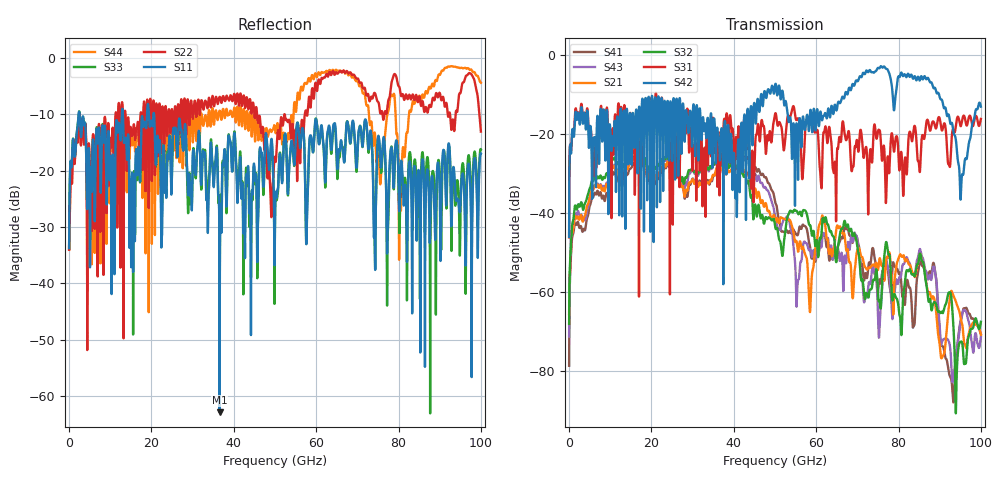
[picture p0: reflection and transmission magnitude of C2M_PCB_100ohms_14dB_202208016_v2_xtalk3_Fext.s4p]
! Info: Touchstone file created by Circ.  Input file=Intel_C2M_200G_3p5in_202208016_staggered.circ
# Hz S RI R 50
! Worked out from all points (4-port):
!   10000 points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, 10 MHz to 100 GHz, reference 50 ohm
!   strongest paths, dB at 10 MHz, 25.01 GHz, 50.01 GHz, 75.01 GHz, 100 GHz:
!     S42: -46.1, -26.9, -7.8, -3.3, -13.1
!     S31: -46.2, -21.6, -15.1, -19.4, -16.2
!     S32: -68.2, -26.6, -43.3, -60.2, -67.6
!     S21: -65.7, -28.2, -41.9, -54.5, -70.9
!     S43: -71.4, -27.0, -40.9, -65.9, -71.5
!     S41: -78.8, -28.3, -37.1, -60.2, -70.7
!   lowest |S11| = -62.9 dB at 36.57 GHz (marker M1), VSWR 1.00, Z = 50 + j0.0615 ohm
!   |S11| at or under -10 dB: 2.562 GHz to 12.79 GHz (10.23 GHz wide, 133 % of centre); 13.06 GHz to 18.93 GHz (5.869 GHz wide, 36.7 % of centre); 20.64 GHz to end of sweep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
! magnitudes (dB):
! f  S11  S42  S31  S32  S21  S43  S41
! 10 MHz  -33.7  -46.1  -46.2  -68.2  -65.7  -71.4  -78.8
! 1.21 GHz  -16.3  -20.5  -19.2  -40.1  -42.3  -42.3  -43.9
! 10.69 GHz  -18.5  -21.9  -19.8  -26.6  -28.7  -28.4  -30.3
! 36.57 GHz  -62.9  -25.5  -30.8  -27.3  -28.8  -26.3  -27.9
! 76.14 GHz  -15.7  -3.3  -25.8  -55.4  -53.2  -57.2  -54.7
! 95.3 GHz  -21.8  -31.8  -17.5  -72.6  -67.6  -66.6  -66.4
! 100 GHz  -16.9  -13.1  -16.2  -67.6  -70.9  -71.5  -70.7
